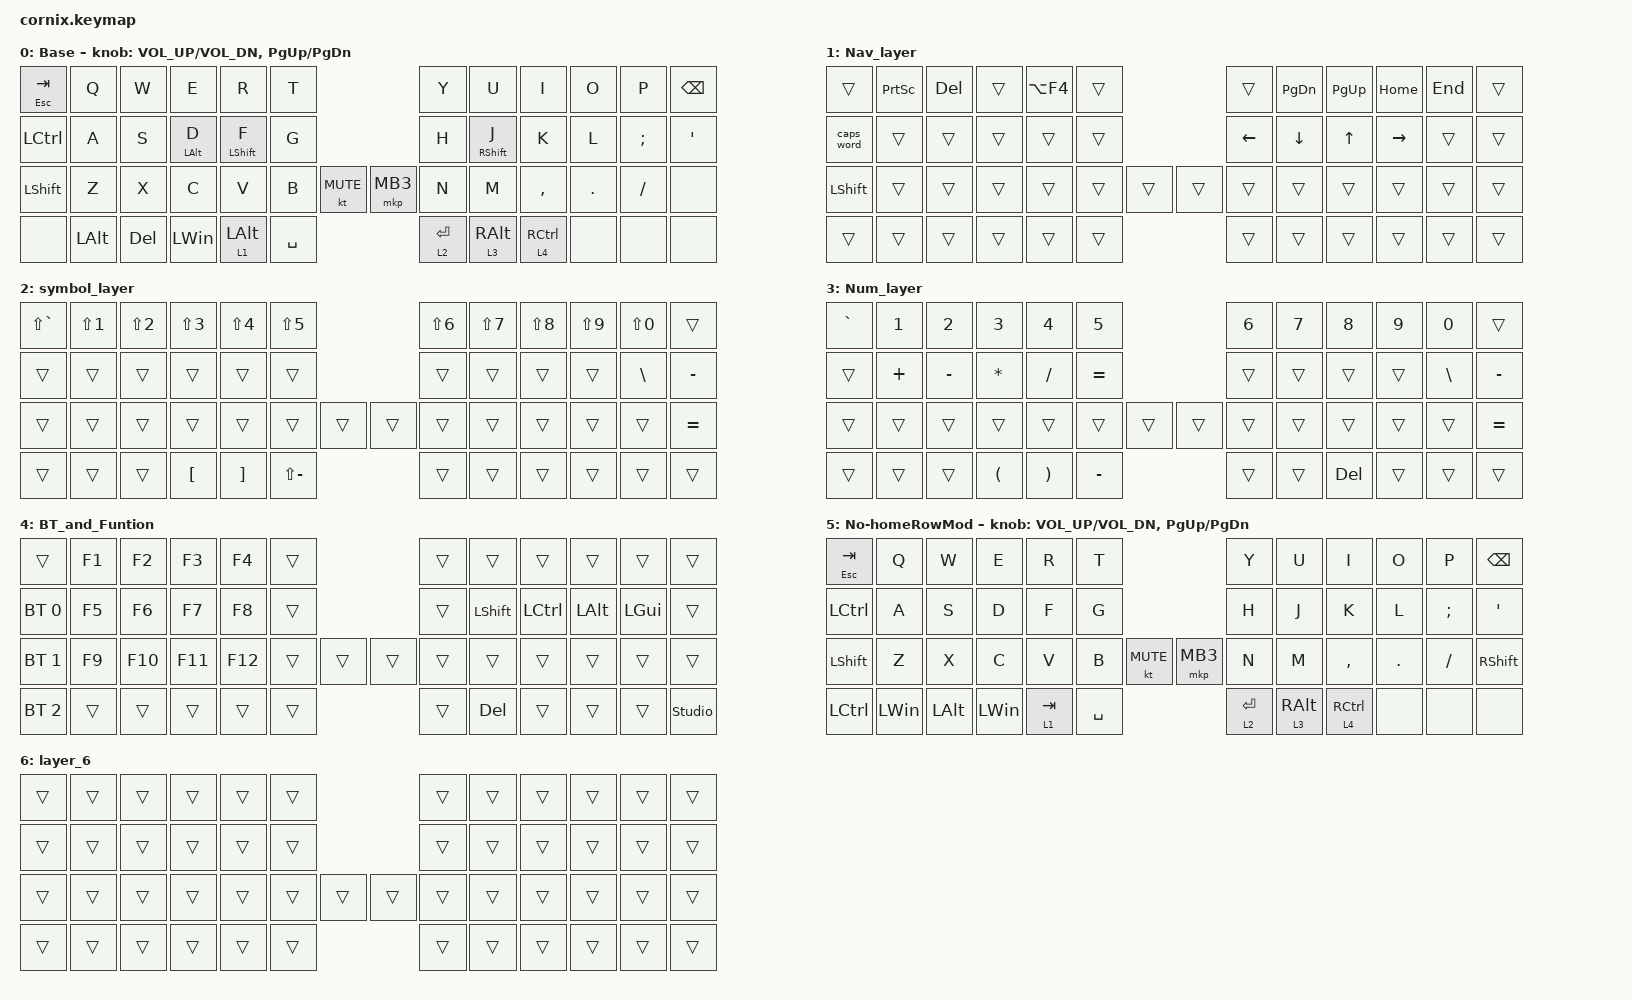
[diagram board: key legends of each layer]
/*
 * Copyright (c) 2020 The ZMK Contributors
 *
 * SPDX-License-Identifier: MIT
 */

#include "zmk-helpers/helper.h"
#include "includes/cornix54.h"
#include <behaviors.dtsi>
#include <dt-bindings/zmk/bt.h>
#include <dt-bindings/zmk/keys.h>
#include <dt-bindings/zmk/pointing.h>

/ {
    behaviors {
        hm_l: homerow_mods_left {
            compatible = "zmk,behavior-hold-tap";
            #binding-cells = <2>;
            bindings = <&kp>, <&kp>;

            flavor = "balanced";
            tapping-term-ms = <180>;
            quick-tap-ms = <175>;                // repeat on tap-into-hold
            require-prior-idle-ms = <75>;
            hold-trigger-on-release;
            hold-trigger-key-positions = <6 7 9 10 11 18 19 20 21 22 23 32 33 34 35 36 37 44 45 46 47 48 49 8 31>;
        };

        hm_r: homerow_mods_right {
            compatible = "zmk,behavior-hold-tap";
            #binding-cells = <2>;
            bindings = <&kp>, <&kp>;

            flavor = "balanced";
            tapping-term-ms = <180>;
            quick-tap-ms = <175>;
            require-prior-idle-ms = <75>;
            hold-trigger-on-release;
            hold-trigger-key-positions = <0 1 2 3 4 5 12 13 14 15 16 17 24 25 26 27 28 29 30 38 39 40 41 42 43>;
        };

        // Positional Homerow mods for shift
        // Use faster tapping term and disable some features that may
        // cause false negatives.

        hm_shift_l: hm_shift_l {
            compatible = "zmk,behavior-hold-tap";
            #binding-cells = <2>;
            bindings = <&kp>, <&kp>;

            //flavor = "balanced";

            flavor = "balanced";
            tapping-term-ms = <180>;
            quick-tap-ms = <200>;
            require-prior-idle-ms = <125>;
            hold-trigger-on-release;
            hold-trigger-key-positions = <6 7 8 9 10 11 18 19 20 21 22 23 31 32 33 34 35 36 37 44 45 46 47 48 49>;
        };

        hm_shift_r: hm_shift_r {
            compatible = "zmk,behavior-hold-tap";
            #binding-cells = <2>;
            bindings = <&kp>, <&kp>;

            flavor = "balanced";
            tapping-term-ms = <180>;
            quick-tap-ms = <175>;
            require-prior-idle-ms = <125>;

            // for quick tapping; shift+~

            hold-trigger-on-release;
            hold-trigger-key-positions = <0 1 2 3 4 5 12 13 14 15 16 17 24 25 26 27 28 29 30 38 39 40 41 42 43>;
        };

        /*
         * Non-Positional Homerow Mods
         * Used for &mm_grescm_gui behavior on left hand.
         *
         * Usage: &hm LSHFT T
         * Tap: T
         * Tap-Tap-Hold: Repeat T
         * Hold: LSHIFT
         */

        hm: homerow_mods {
            compatible = "zmk,behavior-hold-tap";
            #binding-cells = <2>;
            bindings = <&kp>, <&kp>;

            flavor = "balanced";
            tapping-term-ms = <180>;
            quick-tap-ms = <175>;
        };

        lt: layer_tap {
            compatible = "zmk,behavior-hold-tap";
            #binding-cells = <2>;
            bindings = <&mo>, <&kp>;

            flavor = "balanced";
            tapping-term-ms = <180>;
        };
    };

    conditional_layers { compatible = "zmk,conditional-layers"; };

    combos {
        compatible = "zmk,combos";

        capslock {
            bindings = <&kp CAPS>;
            key-positions = <38 49>;
            layers = <0 5>;
        };

        backslash {
            bindings = <&kp BACKSLASH>;
            key-positions = <22 23>;
            layers = <0 5>;
        };

        Togle-NoHomeRowMod {
            bindings = <&tog 5>;
            key-positions = <49 48 47>;
        };

        copy {
            bindings = <&kp LC(C)>;
            key-positions = <38 39>;
        };

        paste {
            bindings = <&kp LC(V)>;
            key-positions = <38 40>;
        };
    };

    keymap {
        compatible = "zmk,keymap";

        default_layer {
            display-name = "Base";

            // ------------------------------------------------------------------------------------------------------------
            // |   `   |  1  |  2  |  3   |  4   |  5   |                   |  6   |  7    |  8    |  9   |   0   |       |
            // |  ESC  |  Q  |  W  |  E   |  R   |  T   |                   |  Y   |  U    |  I    |  O   |   P   | BKSPC |
            // |  TAB  |  A  |  S  |  D   |  F   |  G   |                   |  H   |  J    |  K    |  L   |   ;   |   '   |
            // | SHIFT |  Z  |  X  |  C   |  V   |  B   |  MUTE  |  |       |  N   |  M    |  ,    |  .   |   /   | SHIFT |
            //               | GUI | ALT  | CTRL | LOWER|  ENTER |  | SPACE | RAISE| CTRL  | ALT   | GUI  |

            bindings = <
&mt ESCAPE TAB    &kp Q         &kp W       &kp E           &kp R                &kp T                            &kp Y        &kp U                &kp I                &kp O    &kp P          &kp BACKSPACE
&kp LEFT_CONTROL  &kp A         &kp S       &hm LEFT_ALT D  &hm_shift_l LSHFT F  &kp G                            &kp H        &hm_shift_r RSHFT J  &kp K                &kp L    &kp SEMICOLON  &kp SQT
&kp LEFT_SHIFT    &kp Z         &kp X       &kp C           &kp V                &kp B      &kt K_MUTE  &mkp MB3  &kp N        &kp M                &kp COMMA            &kp DOT  &kp FSLH       &none
&none             &kp LEFT_ALT  &kp DELETE  &kp LEFT_WIN    &lt 1 LEFT_ALT       &kp SPACE                        &lt 2 ENTER  &lt 3 RIGHT_ALT      &lt 4 RIGHT_CONTROL  &none    &none          &none
            >;

            sensor-bindings = <&inc_dec_kp C_VOL_UP C_VOL_DN &inc_dec_kp PG_UP PG_DN>;
        };

        Nav_layer {
            bindings = <
&trans          &kp PRINTSCREEN  &kp DELETE  &trans  &kp LA(F4)  &trans                  &trans    &kp PAGE_DOWN  &kp PG_UP     &kp HOME   &kp END  &trans
&caps_word      &trans           &trans      &trans  &trans      &trans                  &kp LEFT  &kp DOWN       &kp UP_ARROW  &kp RIGHT  &trans   &trans
&kp LEFT_SHIFT  &trans           &trans      &trans  &trans      &trans  &trans  &trans  &trans    &trans         &trans        &trans     &trans   &trans
&trans          &trans           &trans      &trans  &trans      &trans                  &trans    &trans         &trans        &trans     &trans   &trans
            >;
        };

        symbol_layer {
            bindings = <
&kp LS(GRAVE)  &kp LS(N1)  &kp LS(N2)  &kp LS(N3)        &kp LS(N4)         &kp LS(N5)                     &kp LS(N6)  &kp LS(N7)  &kp LS(N8)  &kp LS(N9)  &kp LS(N0)  &trans
&trans         &trans      &trans      &trans            &trans             &trans                         &trans      &trans      &trans      &trans      &kp BSLH    &kp MINUS
&trans         &trans      &trans      &trans            &trans             &trans         &trans  &trans  &trans      &trans      &trans      &trans      &trans      &kp EQUAL
&trans         &trans      &trans      &kp LEFT_BRACKET  &kp RIGHT_BRACKET  &kp LS(MINUS)                  &trans      &trans      &trans      &trans      &trans      &trans
            >;
        };

        Num_layer {
            bindings = <
&kp GRAVE  &kp N1    &kp N2     &kp N3                &kp N4                 &kp N5                     &kp N6  &kp N7  &kp N8      &kp N9  &kp N0    &trans
&trans     &kp PLUS  &kp MINUS  &kp ASTRK             &kp SLASH              &kp EQUAL                  &trans  &trans  &trans      &trans  &kp BSLH  &kp MINUS
&trans     &trans    &trans     &trans                &trans                 &trans     &trans  &trans  &trans  &trans  &trans      &trans  &trans    &kp EQUAL
&trans     &trans    &trans     &kp LEFT_PARENTHESIS  &kp RIGHT_PARENTHESIS  &kp MINUS                  &trans  &trans  &kp DELETE  &trans  &trans    &trans
            >;
        };

        BT_and_Funtion {
            bindings = <
&trans        &kp F1  &kp F2   &kp F3   &kp F4   &trans                  &trans  &trans      &trans     &trans    &trans    &trans
&bt BT_SEL 0  &kp F5  &kp F6   &kp F7   &kp F8   &trans                  &trans  &kp LSHFT   &kp LCTRL  &kp LALT  &kp LGUI  &trans
&bt BT_SEL 1  &kp F9  &kp F10  &kp F11  &kp F12  &trans  &trans  &trans  &trans  &trans      &trans     &trans    &trans    &trans
&bt BT_SEL 2  &trans  &trans   &trans   &trans   &trans                  &trans  &kp DELETE  &trans     &trans    &trans    &studio_unlock
            >;
        };

        No-homeRowMod {
            bindings = <
&mt ESCAPE TAB    &kp Q         &kp W         &kp E         &kp R      &kp T                            &kp Y        &kp U            &kp I                &kp O    &kp P          &kp BACKSPACE
&kp LEFT_CONTROL  &kp A         &kp S         &kp D         &kp F      &kp G                            &kp H        &kp J            &kp K                &kp L    &kp SEMICOLON  &kp SQT
&kp LEFT_SHIFT    &kp Z         &kp X         &kp C         &kp V      &kp B      &kt K_MUTE  &mkp MB3  &kp N        &kp M            &kp COMMA            &kp DOT  &kp FSLH       &kp RIGHT_SHIFT
&kp LEFT_CONTROL  &kp LEFT_WIN  &kp LEFT_ALT  &kp LEFT_WIN  &lt 1 TAB  &kp SPACE                        &lt 2 ENTER  &lt 3 RIGHT_ALT  &lt 4 RIGHT_CONTROL  &none    &none          &none
            >;

            sensor-bindings =
                <&inc_dec_kp C_VOL_UP C_VOL_DN>,
                <&inc_dec_kp PG_UP PG_DN>;
        };

        layer_6 {
            bindings = <
&trans  &trans  &trans  &trans  &trans  &trans                  &trans  &trans  &trans  &trans  &trans  &trans
&trans  &trans  &trans  &trans  &trans  &trans                  &trans  &trans  &trans  &trans  &trans  &trans
&trans  &trans  &trans  &trans  &trans  &trans  &trans  &trans  &trans  &trans  &trans  &trans  &trans  &trans
&trans  &trans  &trans  &trans  &trans  &trans                  &trans  &trans  &trans  &trans  &trans  &trans
            >;
        };
    };
};

&spi3 {
    status = "okay";

    led_strip: ws2812@0 {
        status = "okay";
    };
};

/ {
    aliases {
        status-ws2812 = &led_strip;
    };

    chosen {
        zmk,underglow = &led_strip;
        widget,rgb = &led_strip;
    };
};
